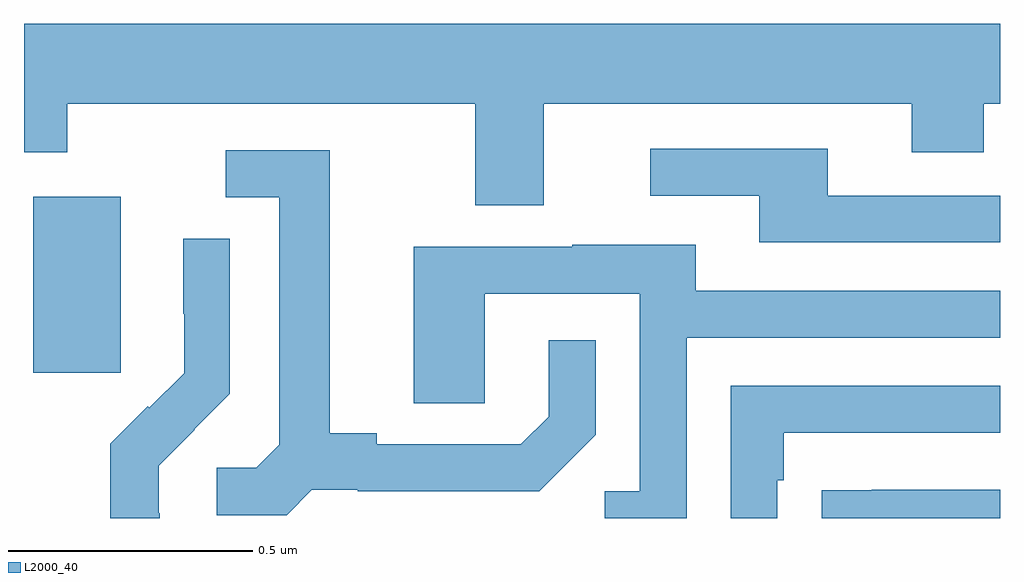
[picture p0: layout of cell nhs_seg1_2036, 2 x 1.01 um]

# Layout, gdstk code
import gdstk
lib = gdstk.Library(unit=1e-6, precision=1e-09)
def R(c, l, rs):  # rectangles x0, y0, x1, y1
    for r in rs: c.add(gdstk.rectangle(r[:2], r[2:], *l))
def P(c, l, *ps):  # polygons
    for p in ps: c.add(gdstk.Polygon(p, *l))
L2000_40 = (2000, 40)

nhs_seg1_2036 = lib.new_cell('nhs_seg1_2036')
R(nhs_seg1_2036, L2000_40, [(136.019,568.497,136.198,568.858)])
P(nhs_seg1_2036, L2000_40, [(137.065,569.048),(137.819,569.048),(137.819,568.949),(137.967,568.949),(137.967,569.048),(138,569.048),(138,569.212),(136,569.212),(136,568.949),(136.089,568.949),(136.089,569.048),(136.925,569.048),(136.925,568.84),(137.065,568.84)],
  [(138,568.86),(137.647,568.86),(137.647,568.956),(137.283,568.956),(137.283,568.86),(137.507,568.86),(137.507,568.764),(138,568.764)],
  [(136.59,568.257),(136.684,568.257),(136.684,568.254),(137.056,568.254),(137.172,568.37),(137.172,568.564),(137.075,568.564),(137.075,568.407),(137.018,568.35),(136.723,568.35),(136.723,568.373),(136.627,568.373),(136.627,568.953),(136.413,568.953),(136.413,568.857),(136.523,568.857),(136.523,568.349),(136.476,568.302),(136.395,568.302),(136.395,568.205),(136.538,568.205)],
  [(136.278,568.209),(136.276,568.209),(136.276,568.306),(136.35,568.38),(136.349,568.381),(136.422,568.454),(136.422,568.772),(136.326,568.772),(136.326,568.618),(136.328,568.618),(136.328,568.496),(136.257,568.425),(136.254,568.428),(136.177,568.351),(136.177,568.199),(136.278,568.199)],
  [(137.358,568.569),(138,568.569),(138,568.665),(137.377,568.665),(137.377,568.759),(137.123,568.759),(137.123,568.755),(136.799,568.755),(136.799,568.435),(136.944,568.435),(136.944,568.659),(137.262,568.659),(137.262,568.254),(137.19,568.254),(137.19,568.199),(137.358,568.199)],
  [(137.544,568.277),(137.557,568.277),(137.557,568.374),(138,568.374),(138,568.47),(137.448,568.47),(137.448,568.199),(137.544,568.199)],
  [(138,568.257),(137.737,568.257),(137.737,568.256),(137.635,568.256),(137.635,568.199),(138,568.199)])

lib.write_gds('nhs_seg1_2036.gds')
